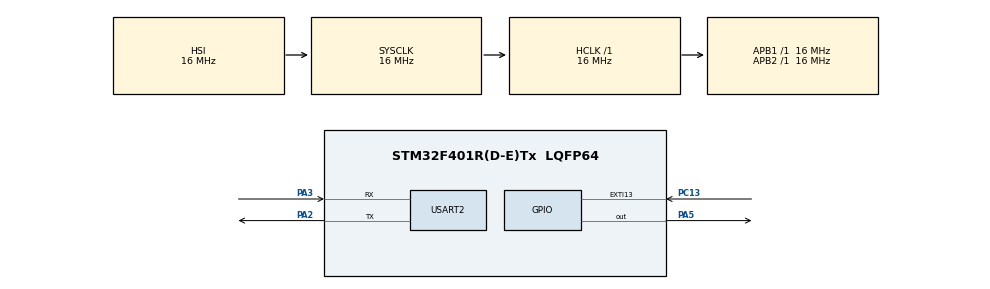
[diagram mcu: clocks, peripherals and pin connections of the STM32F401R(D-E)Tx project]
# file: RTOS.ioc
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Dma.Request0=USART2_RX
Dma.Request1=USART2_TX
Dma.USART2_RX.0.Direction=DMA_PERIPH_TO_MEMORY
Dma.USART2_RX.0.FIFOMode=DMA_FIFOMODE_DISABLE
Dma.USART2_RX.0.Instance=DMA1_Stream5
Dma.USART2_RX.0.MemDataAlignment=DMA_MDATAALIGN_BYTE
Dma.USART2_RX.0.MemInc=DMA_MINC_ENABLE
Dma.USART2_RX.0.Mode=DMA_NORMAL
Dma.USART2_RX.0.PeriphDataAlignment=DMA_PDATAALIGN_BYTE
Dma.USART2_RX.0.PeriphInc=DMA_PINC_DISABLE
Dma.USART2_RX.0.Priority=DMA_PRIORITY_LOW
Dma.USART2_TX.1.Direction=DMA_MEMORY_TO_PERIPH
Dma.USART2_TX.1.FIFOMode=DMA_FIFOMODE_DISABLE
Dma.USART2_TX.1.Instance=DMA1_Stream6
Dma.USART2_TX.1.MemDataAlignment=DMA_MDATAALIGN_BYTE
Dma.USART2_TX.1.MemInc=DMA_MINC_ENABLE
Dma.USART2_TX.1.Mode=DMA_NORMAL
Dma.USART2_TX.1.PeriphDataAlignment=DMA_PDATAALIGN_BYTE
Dma.USART2_TX.1.PeriphInc=DMA_PINC_DISABLE
Dma.USART2_TX.1.Priority=DMA_PRIORITY_LOW
FREERTOS.Tasks01=defaultTask,0,128,StartDefaultTask,Default,NULL
Mcu.Family=STM32F4
Mcu.Name=STM32F401R(D-E)Tx
Mcu.Package=LQFP64
NVIC.DMA1_Stream5_IRQn=true\:5\:0\:false\:false\:true\:true\:false\:true
NVIC.DMA1_Stream6_IRQn=true\:5\:0\:false\:false\:true\:true\:false\:true
NVIC.EXTI15_10_IRQn=true\:5\:0\:false\:false\:true\:true\:true\:true
NVIC.PriorityGroup=NVIC_PRIORITYGROUP_4
NVIC.TIM1_UP_TIM10_IRQn=true\:0\:0\:false\:false\:true\:false\:false\:true
NVIC.TimeBase=TIM1_UP_TIM10_IRQn
NVIC.TimeBaseIP=TIM1
NVIC.USART2_IRQn=true\:5\:0\:false\:false\:true\:true\:true\:true
PA13.Mode=Serial_Wire
PA13.Signal=SYS_JTMS-SWDIO
PA14.Mode=Serial_Wire
PA14.Signal=SYS_JTCK-SWCLK
PA2.Mode=Asynchronous
PA2.Signal=USART2_TX
PA3.Mode=Asynchronous
PA3.Signal=USART2_RX
PA5.Signal=GPIO_Output
PC13-ANTI_TAMP.Signal=GPXTI13
PH0\ -\ OSC_IN.Mode=HSE-External-Oscillator
PH0\ -\ OSC_IN.Signal=RCC_OSC_IN
PH1\ -\ OSC_OUT.Mode=HSE-External-Oscillator
PH1\ -\ OSC_OUT.Signal=RCC_OSC_OUT
ProjectManager.HeapSize=0x200
ProjectManager.StackSize=0x400
ProjectManager.TargetToolchain=STM32CubeIDE
RCC.48MHZClocksFreq_Value=3174603.1746031744
RCC.AHBFreq_Value=16000000
RCC.APB1Freq_Value=16000000
RCC.APB1TimFreq_Value=16000000
RCC.APB2Freq_Value=16000000
RCC.APB2TimFreq_Value=16000000
RCC.CortexFreq_Value=16000000
RCC.HCLKFreq_Value=16000000
RCC.HSE_VALUE=25000000
RCC.HSI_VALUE=16000000
RCC.LSE_VALUE=32768
RCC.PLLM=63
RCC.PLLN=50
RCC.PLLP=RCC_PLLP_DIV8
RCC.SYSCLKFreq_VALUE=16000000
RCC.VCOOutputFreq_Value=12698412.698412698
USART2.VirtualMode=VM_ASYNC
VP_FREERTOS_VS_CMSIS_V1.Mode=CMSIS_V1
VP_SYS_VS_tim1.Mode=TIM1
board=custom

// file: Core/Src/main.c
/* USER CODE BEGIN Header */
/**
  ******************************************************************************
  * @file           : main.c
  * @brief          : Main program body
  ******************************************************************************
  * @attention
  *
  * <h2><center>&copy; Copyright (c) 2019 STMicroelectronics.
  * All rights reserved.</center></h2>
  *
  * This software component is licensed by ST under BSD 3-Clause license,
  * the "License"; You may not use this file except in compliance with the
  * License. You may obtain a copy of the License at:
  *                        opensource.org/licenses/BSD-3-Clause
  *
  ******************************************************************************
  */
/* USER CODE END Header */

#include "main.h"
#include "cmsis_os.h"
#include <stdio.h>
#include "retarget.h"

/* USER CODE BEGIN PM */
#define TASK1_PRIORITY osPriorityNormal
#define TASK1_STK_SIZE 128

#define TASK2_PRIORITY osPriorityNormal
#define TASK2_STK_SIZE 128
/* USER CODE END PM */

UART_HandleTypeDef huart2;
DMA_HandleTypeDef hdma_usart2_rx;
DMA_HandleTypeDef hdma_usart2_tx;

osThreadId defaultTaskHandle;

void SystemClock_Config(void);
static void MX_GPIO_Init(void);
static void MX_DMA_Init(void);
static void MX_USART2_UART_Init(void);
void StartDefaultTask(void const * argument);
void StartTask1(void const* argument);
void StartTask2(void const* argument);

osThreadId Task1TID;
osThreadId Task2TID;

int main(void)
{

  /* MCU Configuration--------------------------------------------------------*/

  /* Reset of all peripherals, Initializes the Flash interface and the Systick. */
  HAL_Init();

  /* Configure the system clock */
  SystemClock_Config();

  /* Initialize all configured peripherals */
  MX_GPIO_Init();
  MX_DMA_Init();
  MX_USART2_UART_Init();
  RetargetInit(&huart2); //use scanf and printf in UART2 which connected to COM3.

  /* Create the thread(s) */
  /* definition and creation of defaultTask */
  osThreadDef(defaultTask, StartDefaultTask, osPriorityNormal, 0, 128);
  defaultTaskHandle = osThreadCreate(osThread(defaultTask), NULL);

  /* USER CODE BEGIN RTOS_THREADS */
  /* add threads, ... */
  osThreadDef(Task1,StartTask1,TASK1_PRIORITY,0,TASK1_STK_SIZE);
  Task1TID = osThreadCreate(osThread(Task1), NULL);

  osThreadDef(Task2,StartTask2,TASK2_PRIORITY,0,TASK2_STK_SIZE);
  Task2TID = osThreadCreate(osThread(Task2), NULL);
  /* USER CODE END RTOS_THREADS */

  /* Start scheduler */
  osKernelStart();

  /* We should never get here as control is now taken by the scheduler */

  /* Infinite loop */
  while (1)
  {

  }
}

void SystemClock_Config(void)
{
  RCC_OscInitTypeDef RCC_OscInitStruct = {0};
  RCC_ClkInitTypeDef RCC_ClkInitStruct = {0};

  /** Configure the main internal regulator output voltage
  */
  __HAL_RCC_PWR_CLK_ENABLE();
  __HAL_PWR_VOLTAGESCALING_CONFIG(PWR_REGULATOR_VOLTAGE_SCALE2);
  /** Initializes the CPU, AHB and APB busses clocks
  */
  RCC_OscInitStruct.OscillatorType = RCC_OSCILLATORTYPE_HSI;
  RCC_OscInitStruct.HSIState = RCC_HSI_ON;
  RCC_OscInitStruct.HSICalibrationValue = RCC_HSICALIBRATION_DEFAULT;
  RCC_OscInitStruct.PLL.PLLState = RCC_PLL_NONE;
  if (HAL_RCC_OscConfig(&RCC_OscInitStruct) != HAL_OK)
  {
    Error_Handler();
  }
  /** Initializes the CPU, AHB and APB busses clocks
  */
  RCC_ClkInitStruct.ClockType = RCC_CLOCKTYPE_HCLK|RCC_CLOCKTYPE_SYSCLK
                              |RCC_CLOCKTYPE_PCLK1|RCC_CLOCKTYPE_PCLK2;
  RCC_ClkInitStruct.SYSCLKSource = RCC_SYSCLKSOURCE_HSI;
  RCC_ClkInitStruct.AHBCLKDivider = RCC_SYSCLK_DIV1;
  RCC_ClkInitStruct.APB1CLKDivider = RCC_HCLK_DIV1;
  RCC_ClkInitStruct.APB2CLKDivider = RCC_HCLK_DIV1;

  if (HAL_RCC_ClockConfig(&RCC_ClkInitStruct, FLASH_LATENCY_0) != HAL_OK)
  {
    Error_Handler();
  }
}

static void MX_USART2_UART_Init(void)
{

  huart2.Instance = USART2;
  huart2.Init.BaudRate = 115200;
  huart2.Init.WordLength = UART_WORDLENGTH_8B;
  huart2.Init.StopBits = UART_STOPBITS_1;
  huart2.Init.Parity = UART_PARITY_NONE;
  huart2.Init.Mode = UART_MODE_TX_RX;
  huart2.Init.HwFlowCtl = UART_HWCONTROL_NONE;
  huart2.Init.OverSampling = UART_OVERSAMPLING_16;
  if (HAL_UART_Init(&huart2) != HAL_OK)
  {
    Error_Handler();
  }

}

static void MX_DMA_Init(void)
{

  /* DMA controller clock enable */
  __HAL_RCC_DMA1_CLK_ENABLE();

  /* DMA interrupt init */
  /* DMA1_Stream5_IRQn interrupt configuration */
  HAL_NVIC_SetPriority(DMA1_Stream5_IRQn, 5, 0);
  HAL_NVIC_EnableIRQ(DMA1_Stream5_IRQn);
  /* DMA1_Stream6_IRQn interrupt configuration */
  HAL_NVIC_SetPriority(DMA1_Stream6_IRQn, 5, 0);
  HAL_NVIC_EnableIRQ(DMA1_Stream6_IRQn);

}

static void MX_GPIO_Init(void)
{
  GPIO_InitTypeDef GPIO_InitStruct = {0};

  /* GPIO Ports Clock Enable */
  __HAL_RCC_GPIOC_CLK_ENABLE();
  __HAL_RCC_GPIOH_CLK_ENABLE();
  __HAL_RCC_GPIOA_CLK_ENABLE();

  /*Configure GPIO pin Output Level */
  HAL_GPIO_WritePin(GPIOA, GPIO_PIN_5, GPIO_PIN_RESET);

  /*Configure GPIO pin : PC13 */
  GPIO_InitStruct.Pin = GPIO_PIN_13;
  GPIO_InitStruct.Mode = GPIO_MODE_IT_RISING;
  GPIO_InitStruct.Pull = GPIO_NOPULL;
  HAL_GPIO_Init(GPIOC, &GPIO_InitStruct);

  /*Configure GPIO pin : PA5 */
  GPIO_InitStruct.Pin = GPIO_PIN_5;
  GPIO_InitStruct.Mode = GPIO_MODE_OUTPUT_PP;
  GPIO_InitStruct.Pull = GPIO_NOPULL;
  GPIO_InitStruct.Speed = GPIO_SPEED_FREQ_LOW;
  HAL_GPIO_Init(GPIOA, &GPIO_InitStruct);

  /* EXTI interrupt init*/
  HAL_NVIC_SetPriority(EXTI15_10_IRQn, 5, 0);
  HAL_NVIC_EnableIRQ(EXTI15_10_IRQn);

}

/* USER CODE BEGIN 4 */
void StartTask1(void const* argument)
{
	while(1)
	{
		HAL_GPIO_TogglePin(GPIOA,GPIO_PIN_5);
		osDelay(500);
	}
	osThreadTerminate(NULL);
}
void StartTask2(void const* argument)
{
	int i=0;
	while(1){
		i++;
		if (i==5){
			osThreadSuspend(Task1TID);
			printf("Your LED has been turned off\r\n");
		}
		else if(i==10){
			i = 0;
			osThreadResume(Task1TID);
			printf("Your LED has been turned on\r\n");
		}
		osDelay(1000);
	}
	osThreadTerminate(NULL);
}
/* USER CODE END 4 */

void StartDefaultTask(void const * argument)
{
  for(;;)
  {
    osDelay(1);
  }
}

void HAL_TIM_PeriodElapsedCallback(TIM_HandleTypeDef *htim)
{
  if (htim->Instance == TIM1) {
    HAL_IncTick();
  }
}

void Error_Handler(void)
{
}

/************************ (C) COPYRIGHT STMicroelectronics *****END OF FILE****/
